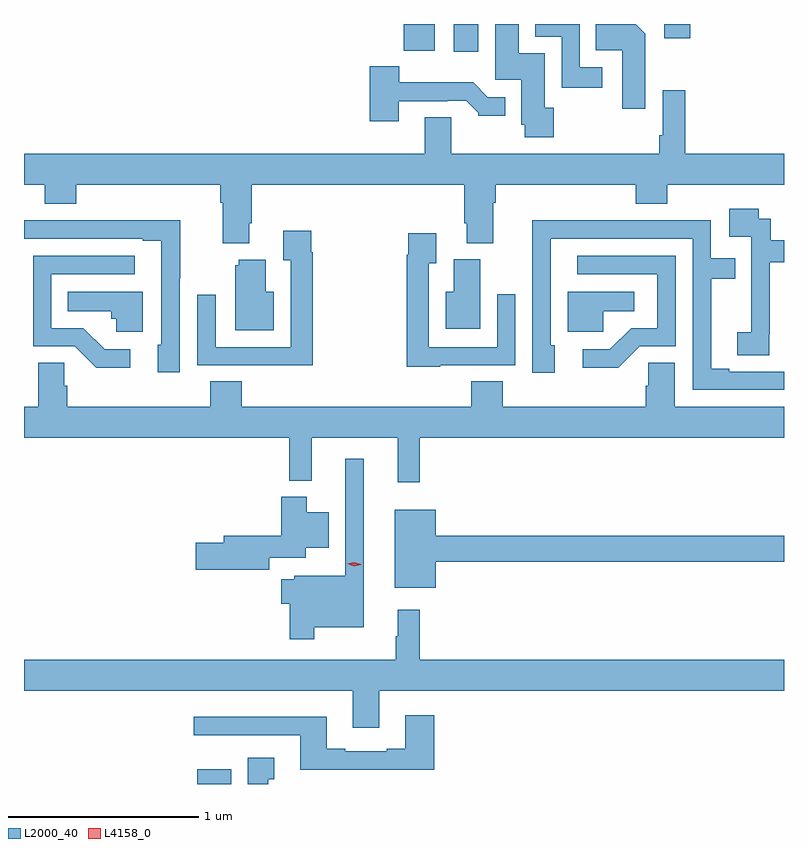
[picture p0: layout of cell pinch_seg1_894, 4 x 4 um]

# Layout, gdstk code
import gdstk
lib = gdstk.Library(unit=1e-6, precision=1e-09)
def R(c, l, rs):  # rectangles x0, y0, x1, y1
    for r in rs: c.add(gdstk.rectangle(r[:2], r[2:], *l))
def P(c, l, *ps):  # polygons
    for p in ps: c.add(gdstk.Polygon(p, *l))
L2000_40 = (2000, 40)
L4158_0 = (4158, 0)

pinch_seg1_894 = lib.new_cell('pinch_seg1_894')
R(pinch_seg1_894, L2000_40, [(310.31,527.266,310.489,527.344), (311.66,531.12,311.791,531.266), (311.398,531.125,311.56,531.266), (312.77,531.192,312.905,531.266)])
P(pinch_seg1_894, L2000_40, [(312.67,531.214),(312.618,531.266),(312.409,531.266),(312.409,531.128),(312.548,531.128),(312.548,530.82),(312.67,530.82)],
  [(312.186,530.826),(312.139,530.826),(312.139,531.112),(312.004,531.112),(312.004,531.266),(311.879,531.266),(311.879,530.973),(312.017,530.973),(312.017,530.736),(312.034,530.736),(312.034,530.67),(312.186,530.67)],
  [(312.442,531.039),(312.324,531.039),(312.324,531.266),(312.089,531.266),(312.089,531.2),(312.228,531.2),(312.228,530.931),(312.442,530.931)],
  [(311.371,530.859),(311.627,530.859),(311.627,530.862),(311.726,530.862),(311.79,530.798),(311.79,530.783),(311.932,530.783),(311.932,530.88),(311.841,530.88),(311.763,530.959),(311.374,530.959),(311.374,531.043),(311.219,531.043),(311.219,530.754),(311.371,530.754)],
  [(310.585,530.218),(310.598,530.218),(310.598,530.42),(311.717,530.42),(311.717,530.218),(311.729,530.218),(311.729,530.113),(311.869,530.113),(311.869,530.324),(311.882,530.324),(311.882,530.42),(312.62,530.42),(312.62,530.321),(312.785,530.321),(312.785,530.42),(313.399,530.42),(313.399,530.584),(312.878,530.584),(312.878,530.917),(312.762,530.917),(312.762,530.68),(312.742,530.68),(312.742,530.584),(311.647,530.584),(311.647,530.774),(311.507,530.774),(311.507,530.584),(309.399,530.584),(309.399,530.42),(309.509,530.42),(309.509,530.321),(309.674,530.321),(309.674,530.42),(310.433,530.42),(310.433,530.324),(310.445,530.324),(310.445,530.111),(310.585,530.111)],
  [(313.322,529.633),(313.324,529.633),(313.324,530.011),(313.399,530.011),(313.399,530.127),(313.328,530.127),(313.328,530.241),(313.266,530.241),(313.266,530.293),(313.11,530.293),(313.11,530.145),(313.227,530.145),(313.227,529.841),(313.226,529.841),(313.226,529.644),(313.152,529.644),(313.152,529.522),(313.322,529.522)],
  [(313.399,529.437),(313.111,529.437),(313.111,529.452),(313.015,529.452),(313.015,529.926),(313.142,529.926),(313.142,530.034),(313.014,530.034),(313.014,530.232),(312.536,530.232),(312.536,530.234),(312.074,530.234),(312.074,529.93),(312.075,529.93),(312.075,529.431),(312.193,529.431),(312.193,529.575),(312.171,529.575),(312.171,530.136),(312.918,530.136),(312.918,529.341),(313.399,529.341)],
  [(310.218,529.927),(310.221,529.927),(310.221,530.234),(309.757,530.234),(309.757,530.232),(309.399,530.232),(309.399,530.136),(310.025,530.136),(310.025,530.124),(310.121,530.124),(310.121,529.93),(310.122,529.93),(310.122,529.578),(310.103,529.578),(310.103,529.434),(310.218,529.434)],
  [(310.919,530.066),(310.912,530.066),(310.912,530.179),(310.763,530.179),(310.763,530.023),(310.803,530.023),(310.803,529.566),(310.407,529.566),(310.407,529.84),(310.311,529.84),(310.311,529.47),(310.627,529.47),(310.627,529.469),(310.919,529.469)],
  [(311.589,529.47),(311.985,529.47),(311.985,529.843),(311.889,529.843),(311.889,529.566),(311.529,529.566),(311.529,530.008),(311.569,530.008),(311.569,530.164),(311.421,530.164),(311.421,530.051),(311.413,530.051),(311.413,529.463),(311.589,529.463)],
  [(312.639,529.569),(312.828,529.569),(312.828,530.046),(312.312,530.046),(312.312,529.95),(312.732,529.95),(312.732,529.665),(312.594,529.665),(312.483,529.554),(312.339,529.554),(312.339,529.457),(312.526,529.457)],
  [(309.958,529.554),(309.823,529.554),(309.712,529.665),(309.543,529.665),(309.543,529.95),(309.982,529.95),(309.982,530.046),(309.447,530.046),(309.447,529.569),(309.666,529.569),(309.779,529.457),(309.958,529.457)],
  [(311.8,530.028),(311.66,530.028),(311.66,529.858),(311.618,529.858),(311.618,529.661),(311.8,529.661)],
  [(310.714,529.858),(310.672,529.858),(310.672,530.026),(310.529,530.026),(310.529,529.995),(310.511,529.995),(310.511,529.655),(310.714,529.655)],
  [(312.447,529.754),(312.61,529.754),(312.61,529.858),(312.26,529.858),(312.26,529.647),(312.447,529.647)],
  [(310.024,529.858),(309.628,529.858),(309.628,529.754),(309.859,529.754),(309.859,529.716),(309.885,529.716),(309.885,529.646),(310.024,529.646)],
  [(311.483,529.088),(313.399,529.088),(313.399,529.252),(312.823,529.252),(312.823,529.484),(312.684,529.484),(312.684,529.361),(312.671,529.361),(312.671,529.252),(311.918,529.252),(311.918,529.385),(311.753,529.385),(311.753,529.252),(310.544,529.252),(310.544,529.385),(310.379,529.385),(310.379,529.252),(309.626,529.252),(309.626,529.361),(309.612,529.361),(309.612,529.484),(309.473,529.484),(309.473,529.252),(309.399,529.252),(309.399,529.088),(310.795,529.088),(310.795,528.863),(310.913,528.863),(310.913,529.088),(311.366,529.088),(311.366,528.855),(311.483,528.855)],
  [(310.927,528.092),(311.188,528.092),(311.188,528.979),(311.091,528.979),(311.091,528.361),(310.821,528.361),(310.821,528.343),(310.754,528.343),(310.754,528.214),(310.798,528.214),(310.798,528.027),(310.927,528.027)],
  [(310.69,528.456),(310.882,528.456),(310.882,528.509),(311.002,528.509),(311.002,528.697),(310.888,528.697),(310.888,528.778),(310.754,528.778),(310.754,528.572),(310.451,528.572),(310.451,528.536),(310.302,528.536),(310.302,528.394),(310.69,528.394)],
  [(311.566,528.436),(313.399,528.436),(313.399,528.572),(311.566,528.572),(311.566,528.709),(311.351,528.709),(311.351,528.299),(311.566,528.299)],
  [(311.269,527.756),(313.399,527.756),(313.399,527.92),(311.483,527.92),(311.483,528.184),(311.366,528.184),(311.366,528.044),(311.355,528.044),(311.355,527.92),(309.399,527.92),(309.399,527.756),(311.129,527.756),(311.129,527.562),(311.269,527.562)],
  [(311.558,527.629),(311.405,527.629),(311.405,527.452),(311.309,527.452),(311.309,527.439),(311.089,527.439),(311.089,527.452),(310.993,527.452),(310.993,527.62),(310.293,527.62),(310.293,527.523),(310.853,527.523),(310.853,527.342),(311.558,527.342)],
  [(310.684,527.291),(310.717,527.291),(310.717,527.404),(310.577,527.404),(310.577,527.266),(310.684,527.266)])
P(pinch_seg1_894, L4158_0, [(311.136,528.413),(311.101,528.425),(311.101,528.425),(311.101,528.425),(311.137,528.433),(311.172,528.422),(311.173,528.422),(311.172,528.421)])

lib.write_gds('pinch_seg1_894.gds')
